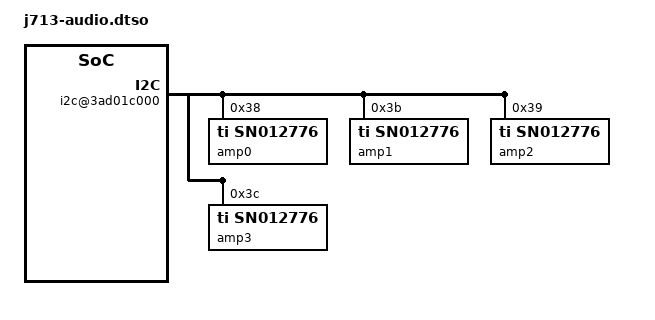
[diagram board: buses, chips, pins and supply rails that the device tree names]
/dts-v1/;
/plugin/;
/ {
    /* Exact saved pinctrl phandle0x3f must be rechecked before native apply. */
    fragment@0 {
        target-path = "/soc/i2s@393600000";
        __overlay__ {
            apple,speaker-group = <&speaker_group>;
        };
    };
    fragment@1 {
        target-path = "/";
        __overlay__ {
            speaker_group: speaker-group {
                compatible = "apple,j713-speaker-group";
                reset-gpios = <0x3f 15 0>;
            };
            sound {
                compatible = "apple,j713-audio";
                model = "Apple J713";
                apple,speaker-group = <&speaker_group>;

                apple,codecs = <&amp0 &amp1 &amp2 &amp3>;
            };
        };
    };
    fragment@2 {
        target-path = "/soc/i2c@3ad01c000";
        __overlay__ {
            #address-cells = <1>;
            #size-cells = <0>;
            /* Controller already enabled and independently qualified. */
            amp0: amplifier@38 {
                compatible = "ti,sn012776";
                reg = <0x38>;
                #sound-dai-cells = <0>;
                apple,speaker-group = <&speaker_group>;
            };
            amp1: amplifier@3b {
                compatible = "ti,sn012776";
                reg = <0x3b>;
                #sound-dai-cells = <0>;
                apple,speaker-group = <&speaker_group>;
            };
            amp2: amplifier@39 {
                compatible = "ti,sn012776";
                reg = <0x39>;
                #sound-dai-cells = <0>;
                apple,speaker-group = <&speaker_group>;
            };
            amp3: amplifier@3c {
                compatible = "ti,sn012776";
                reg = <0x3c>;
                #sound-dai-cells = <0>;
                apple,speaker-group = <&speaker_group>;
            };
        };
    };
};
